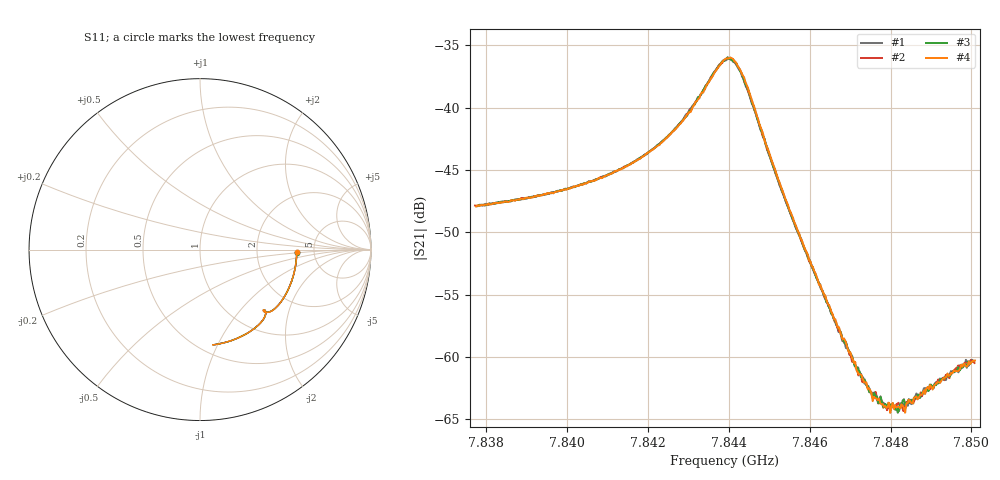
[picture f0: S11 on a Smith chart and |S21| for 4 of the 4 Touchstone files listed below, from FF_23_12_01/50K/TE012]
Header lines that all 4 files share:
#  HZ  S  RI  R  50.00
! Rohde & Schwarz Vector Network Analyzer
! Rohde-Schwarz,ZNB20-2Port,1311601062101988,3.16
! freq[Hz]  re:S11  im:S11  re:S21  im:S21  re:S12  im:S12  re:S22  im:S22
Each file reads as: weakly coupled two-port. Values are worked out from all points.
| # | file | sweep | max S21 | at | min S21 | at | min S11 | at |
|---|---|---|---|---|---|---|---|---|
| 1 | 283_2_48.1011_50.164669_11371.946_.s2p | 7.83778 GHz to 7.85002 GHz | -36.04 dB | 7.84399 GHz | -64.3 dB | 7.84821 GHz | -5.8 dB | 7.84411 GHz |
| 2 | 284_2_48.1015_50.1660385_10771.352_.s2p | 7.83772 GHz to 7.85008 GHz | -36.01 dB | 7.84396 GHz | -64.3 dB | 7.84832 GHz | -5.8 dB | 7.84412 GHz |
| 3 | 286_2_48.0996_50.1657333_9621.677_.s2p | 7.83782 GHz to 7.85001 GHz | -35.95 dB | 7.84397 GHz | -64.5 dB | 7.84818 GHz | -5.8 dB | 7.84413 GHz |
| 4 | 290_2_48.1006_50.1693802_7342.071_.s2p | 7.83775 GHz to 7.85009 GHz | -35.98 dB | 7.84404 GHz | -64.5 dB | 7.84799 GHz | -5.8 dB | 7.84414 GHz |
